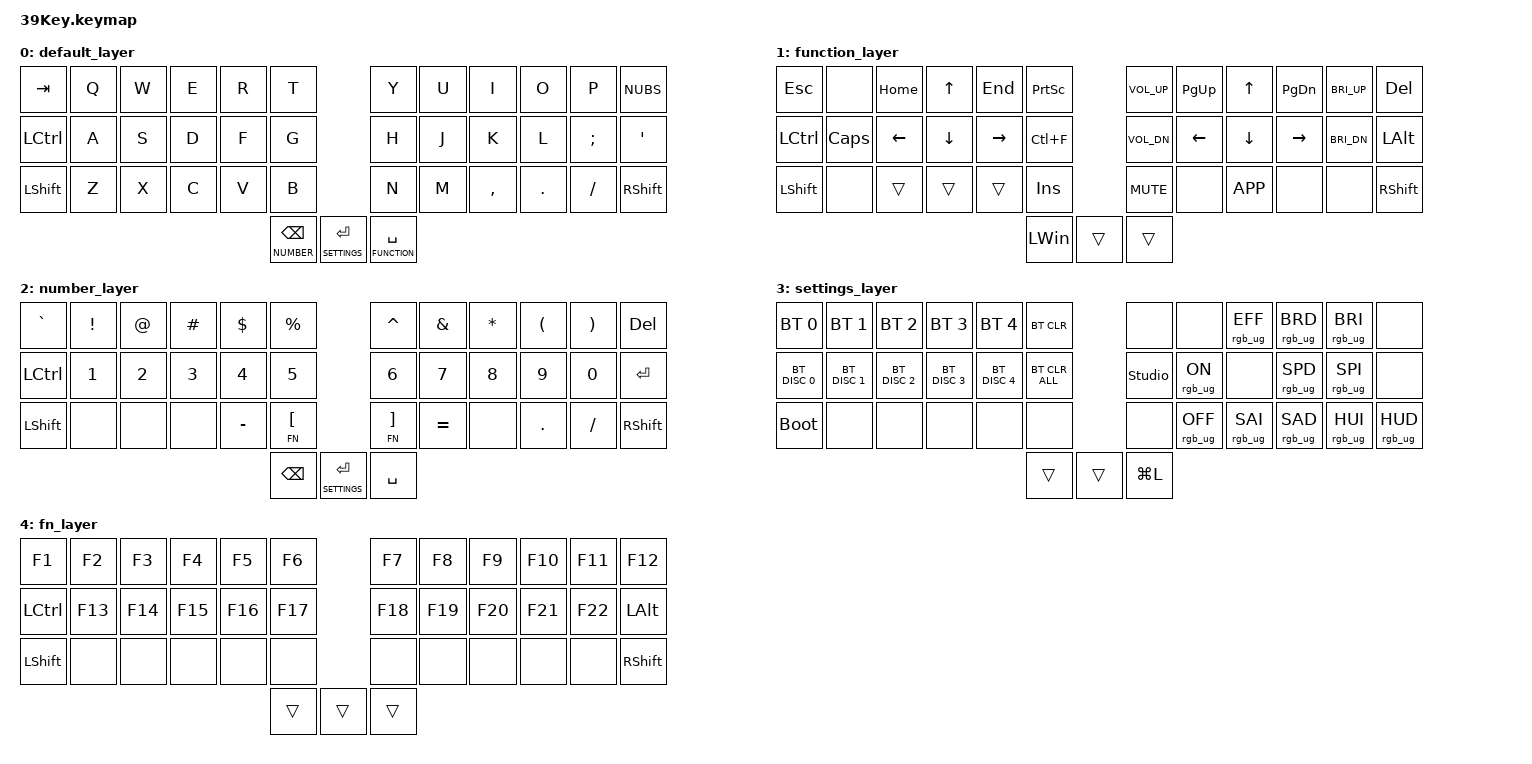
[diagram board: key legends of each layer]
/*
 * Copyright (c) 2022 The ZMK Contributors
 *
 * SPDX-License-Identifier: MIT
 */

#include <behaviors.dtsi>
#include <dt-bindings/zmk/keys.h>
#include <dt-bindings/zmk/outputs.h>
#include <dt-bindings/zmk/bt.h>
#include <dt-bindings/zmk/rgb.h>

#define DEFAULT 0
#define FUNCTION 1
#define NUMBER 2
#define SETTINGS 3
#define FN 4

/ {

keymap {
        compatible = "zmk,keymap";

        default_layer {
            bindings = <
                &kp TAB     &kp Q   &kp W   &kp E   &kp R   &kp T                               &kp Y   &kp U   &kp I       &kp O     &kp P      &kp NUBS
                &kp LCTRL   &kp A   &kp S   &kp D   &kp F   &kp G                               &kp H   &kp J   &kp K       &kp L     &kp SEMI   &kp SQT
                &kp LSHIFT  &kp Z   &kp X   &kp C   &kp V   &kp B                               &kp N   &kp M   &kp COMMA   &kp DOT   &kp FSLH   &kp RSHIFT
                                                            &lt NUMBER BSPC  &lt SETTINGS ENTER &lt FUNCTION SPACE               
            >;
         };
        function_layer {
            bindings = <
                &kp ESC      &none      &kp HOME    &kp UP      &kp END     &kp PSCRN         &kp C_VOL_UP   &kp PG_UP   &kp UP      &kp PG_DN    &kp C_BRI_UP   &kp DEL
                &kp LCTRL    &kp CAPS   &kp LEFT    &kp DOWN    &kp RIGHT   &kp LC(F)         &kp C_VOL_DN   &kp LEFT    &kp DOWN    &kp RIGHT    &kp C_BRI_DN   &kp LALT
                &kp LSHIFT   &none      &trans      &trans      &trans      &kp INS           &kp C_MUTE     &none       &kp K_APP   &none        &none          &kp RSHIFT
                                                                            &kp LWIN  &trans  &trans
                
            >;
        };
        number_layer {
            bindings = <
                &kp GRAVE    &kp EXCL   &kp AT   &kp HASH   &kp DOLLAR   &kp PERCENT                  &kp CARET     &kp AMPS    &kp ASTERISK  &kp LPAR   &kp RPAR   &kp DEL
                &kp LCTRL    &kp N1     &kp N2   &kp N3     &kp N4       &kp N5                       &kp N6        &kp N7      &kp N8        &kp N9     &kp N0     &kp ENTER
                &kp LSHIFT   &none      &none    &none      &kp MINUS    &lt FN LBKT                  &lt FN RBKT   &kp EQUAL   &none         &kp DOT    &kp FSLH   &kp RSHIFT
                                                                         &kp BSPC  &lt SETTINGS ENTER &kp SPACE
            >;
         };
        settings_layer {
            bindings = <
                &bt BT_SEL 0   &bt BT_SEL 1   &bt BT_SEL 2   &bt BT_SEL 3   &bt BT_SEL 4  &bt BT_CLR      &none           &none           &rgb_ug RGB_EFF   &rgb_ug RGB_BRD  &rgb_ug RGB_BRI  &none
                &bt BT_DISC 0  &bt BT_DISC 1  &bt BT_DISC 2  &bt BT_DISC 3  &bt BT_DISC 4 &bt BT_CLR_ALL  &studio_unlock  &rgb_ug RGB_ON  &none             &rgb_ug RGB_SPD  &rgb_ug RGB_SPI  &none
                &bootloader    &none          &none          &none          &none         &none           &none           &rgb_ug RGB_OFF &rgb_ug RGB_SAI   &rgb_ug RGB_SAD  &rgb_ug RGB_HUI  &rgb_ug RGB_HUD
                                                                                          &trans  &trans  &kp LG(L)
            >;
         };
        fn_layer {
            bindings = <
                &kp F1     &kp F2     &kp F3     &kp F4   &kp F5   &kp F6          &kp F7      &kp F8   &kp F9   &kp F10  &kp F11   &kp F12
                &kp LCTRL  &kp F13    &kp F14    &kp F15  &kp F16  &kp F17         &kp F18     &kp F19  &kp F20  &kp F21  &kp F22   &kp LALT
                &kp LSHIFT &none      &none      &none    &none    &none           &none       &none    &none    &none    &none     &kp RSHIFT
                                                                   &trans  &trans  &trans
            >;
         };
        studio1_layer {
            status = "reserved";
        };
        studio2_layer {
            status = "reserved";
        };
        studio3_layer {
            status = "reserved";
        };
        studio4_layer {
            status = "reserved";
        };
        studio5_layer {
            status = "reserved";
        };
    };
};
